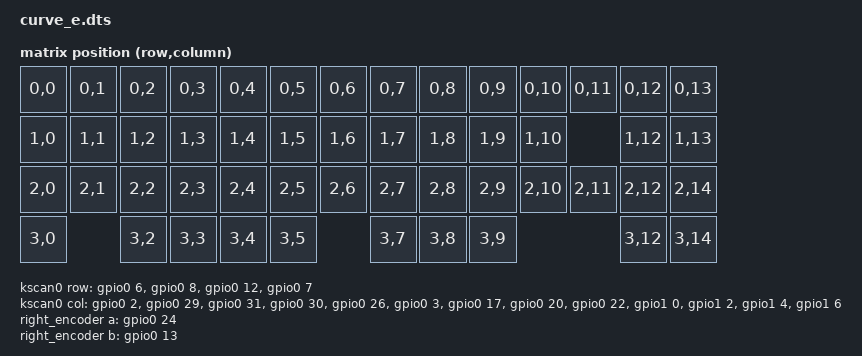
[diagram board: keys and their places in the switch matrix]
/*
* Copyright (c) 2021 The ZMK Contributors
*
* SPDX-License-Identifier: MIT
*/

/dts-v1/;
#include "curve_e.dtsi"
#include <dt-bindings/led/led.h>


/ {
	chosen {
		zmk,kscan = &kscan0;
		zmk,matrix_transform = &default_transform;
		zmk,underglow = &led_strip;
	};

	sensors {
		compatible = "zmk,keymap-sensors";
		sensors = <&right_encoder>;
	};

	
	default_transform: keymap_transform_0 {
		compatible = "zmk,matrix-transform";
		columns = <13>;
		rows = <4>;
		map = <
			RC(0,0) RC(0,1) RC(0,2) RC(0,3) RC(0,4) RC(0,5) RC(0,6) RC(0,7) RC(0,8) RC(0,9) RC(0,10) RC(0,11) RC(0,12)  RC(0,13) 
			RC(1,0) RC(1,1) RC(1,2) RC(1,3) RC(1,4) RC(1,5) RC(1,6) RC(1,7) RC(1,8) RC(1,9) RC(1,10)		  RC(1,12)  RC(1,13) 
			RC(2,0) RC(2,1) RC(2,2) RC(2,3) RC(2,4) RC(2,5) RC(2,6) RC(2,7) RC(2,8) RC(2,9) RC(2,10) RC(2,11) RC(2,12)  RC(2,14) 
			RC(3,0) 		RC(3,2) RC(3,3) RC(3,4) RC(3,5) 		RC(3,7) RC(3,8) RC(3,9) 				  RC(3,12)  RC(3,14) 
		>;
	};


	kscan0: kscan_0 {
		compatible = "zmk,kscan-gpio-matrix";
		label = "KSCAN";
		diode-direction = "col2row";

		col-gpios
			= <&gpio0 2  GPIO_ACTIVE_HIGH>
			, <&gpio0 29 GPIO_ACTIVE_HIGH>
			, <&gpio0 31 GPIO_ACTIVE_HIGH>
			, <&gpio0 30 GPIO_ACTIVE_HIGH>
			, <&gpio0 26 GPIO_ACTIVE_HIGH>
			, <&gpio0 3  GPIO_ACTIVE_HIGH>
			, <&gpio0 17 GPIO_ACTIVE_HIGH>
			, <&gpio0 20 GPIO_ACTIVE_HIGH>
			, <&gpio0 22 GPIO_ACTIVE_HIGH>
			, <&gpio1 0  GPIO_ACTIVE_HIGH>
			, <&gpio1 2  GPIO_ACTIVE_HIGH>
			, <&gpio1 4  GPIO_ACTIVE_HIGH>
			, <&gpio1 6  GPIO_ACTIVE_HIGH>
			;

		row-gpios
			= <&gpio0 6  (GPIO_ACTIVE_HIGH | GPIO_PULL_DOWN)>
			, <&gpio0 8  (GPIO_ACTIVE_HIGH | GPIO_PULL_DOWN)>
			, <&gpio0 12 (GPIO_ACTIVE_HIGH | GPIO_PULL_DOWN)>
			, <&gpio0 7  (GPIO_ACTIVE_HIGH | GPIO_PULL_DOWN)>
			;
	};

	leds {
		compatible = "gpio-leds";
		blue_led: led_0 {
			gpios = <&gpio1 10 GPIO_ACTIVE_HIGH>;
			label = "Blue LED";
		};
	};

	ext-power {
		compatible = "zmk,ext-power-generic";
		label = "EXT_POWER";
		control-gpios = <&gpio1 9 GPIO_ACTIVE_LOW>;
	};

    right_encoder: encoder_right {
        compatible = "alps,ec11";
        label = "RIGHT_ENCODER";
        a-gpios = <&gpio0 24 (GPIO_ACTIVE_HIGH | GPIO_PULL_UP)>;
        b-gpios = <&gpio0 13  (GPIO_ACTIVE_HIGH | GPIO_PULL_UP)>;
        resolution = <4>;
		status = "okay";
    };

	vbatt {
		compatible = "zmk,battery-voltage-divider";
		label = "BATTERY";
		io-channels = <&adc 2>;
		output-ohms = <2000000>;
		full-ohms = <(2000000 + 820000)>;
	};
};

&spi1 {
	mosi-pin = <15>;
	// Unused pins, needed for SPI definition, but not used by the ws2812 driver itself.
	sck-pin = <6>;
	miso-pin = <8>;

	led_strip: ws2812@0 {
		compatible = "worldsemi,ws2812-spi";
		label = "WS2812";

		/* SPI */
		reg = <0>; /* ignored, but necessary for SPI bindings */
		spi-max-frequency = <4000000>;

		/* WS2812 */
		chain-length = <10>; /* LED strip length */
		spi-one-frame = <0x70>;
		spi-zero-frame = <0x40>;
		color-mapping = <LED_COLOR_ID_GREEN LED_COLOR_ID_RED LED_COLOR_ID_BLUE>;
	};
};
